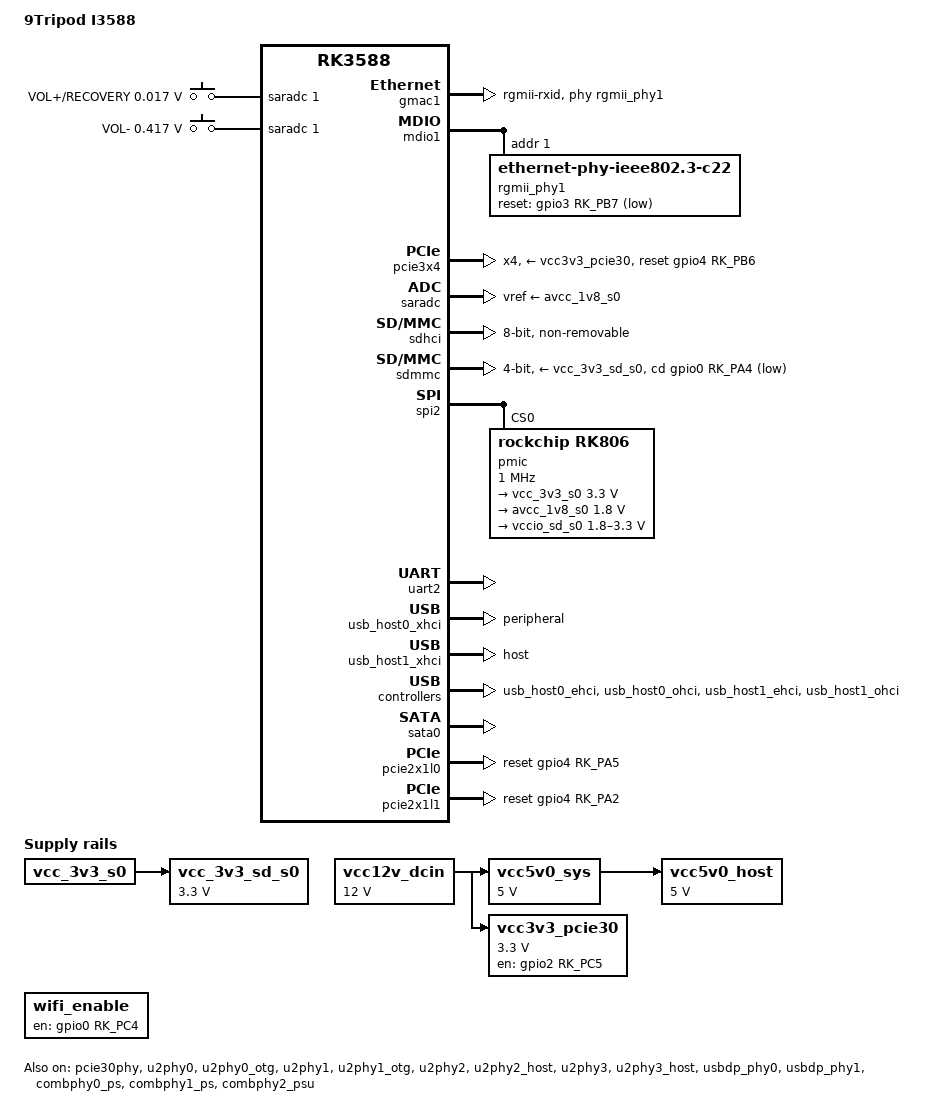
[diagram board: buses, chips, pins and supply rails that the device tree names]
// SPDX-License-Identifier: (GPL-2.0+ OR MIT)
/*
 * Board wiring from the I3588 factory Linux+QT DTB and BV2 carrier schematic.
 * Boot-stage devices only; the OS loads its own complete board DTB.
 */
/dts-v1/;

#include <dt-bindings/gpio/gpio.h>
#include <dt-bindings/input/input.h>
#include <dt-bindings/pinctrl/rockchip.h>
#include "rk3588.dtsi"

/ {
	model = "9Tripod I3588";
	compatible = "9tripod,i3588", "rockchip,rk3588";

	aliases {
		ethernet0 = &gmac1;
		mmc0 = &sdhci;
		mmc1 = &sdmmc;
	};

	chosen {
		stdout-path = "serial2:1500000n8";
	};

	/* Preserve the secure-world hole in the factory firmware's DRAM map. */
	reserved-memory {
		#address-cells = <2>;
		#size-cells = <2>;
		ranges;

		secure-firmware@8400000 {
			reg = <0 0x08400000 0 0x01000000>;
			no-map;
		};
	};

	adc-keys {
		compatible = "adc-keys";
		io-channels = <&saradc 1>;
		io-channel-names = "buttons";
		keyup-threshold-microvolt = <1800000>;
		poll-interval = <100>;

		download-key {
			label = "VOL+/RECOVERY";
			linux,code = <KEY_VOLUMEUP>;
			press-threshold-microvolt = <17000>;
		};

		volume-down {
			label = "VOL-";
			linux,code = <KEY_VOLUMEDOWN>;
			press-threshold-microvolt = <417000>;
		};
	};

	vcc12v_dcin: regulator-vcc12v-dcin {
		compatible = "regulator-fixed";
		regulator-name = "vcc12v_dcin";
		regulator-always-on;
		regulator-boot-on;
		regulator-min-microvolt = <12000000>;
		regulator-max-microvolt = <12000000>;
	};

	vcc5v0_sys: regulator-vcc5v0-sys {
		compatible = "regulator-fixed";
		regulator-name = "vcc5v0_sys";
		regulator-always-on;
		regulator-boot-on;
		regulator-min-microvolt = <5000000>;
		regulator-max-microvolt = <5000000>;
		vin-supply = <&vcc12v_dcin>;
	};

	vcc5v0_host: regulator-vcc5v0-host {
		compatible = "regulator-fixed";
		regulator-name = "vcc5v0_host";
		regulator-always-on;
		regulator-boot-on;
		regulator-min-microvolt = <5000000>;
		regulator-max-microvolt = <5000000>;
		vin-supply = <&vcc5v0_sys>;
	};

	vcc3v3_pcie30: regulator-vcc3v3-pcie30 {
		compatible = "regulator-fixed";
		regulator-name = "vcc3v3_pcie30";
		regulator-min-microvolt = <3300000>;
		regulator-max-microvolt = <3300000>;
		enable-active-high;
		gpio = <&gpio2 RK_PC5 GPIO_ACTIVE_HIGH>;
		startup-delay-us = <5000>;
		vin-supply = <&vcc12v_dcin>;
	};

	vcc_3v3_sd_s0: regulator-vcc-3v3-sd-s0 {
		compatible = "regulator-fixed";
		regulator-name = "vcc_3v3_sd_s0";
		regulator-min-microvolt = <3300000>;
		regulator-max-microvolt = <3300000>;
		vin-supply = <&vcc_3v3_s0>;
	};
	wifi_enable: regulator-wifi-enable {
		compatible = "regulator-fixed";
		regulator-name = "wifi_enable";
		gpio = <&gpio0 RK_PC4 GPIO_ACTIVE_HIGH>;
		enable-active-high;
		startup-delay-us = <200000>;
	};
};

&gmac1 {
	clock_in_out = "output";
	phy-handle = <&rgmii_phy1>;
	phy-mode = "rgmii-rxid";
	pinctrl-names = "default";
	pinctrl-0 = <&gmac1_miim &gmac1_tx_bus2 &gmac1_rx_bus2
		     &gmac1_rgmii_clk &gmac1_rgmii_bus>;
	tx_delay = <0x44>;
	status = "okay";
};

&mdio1 {
	rgmii_phy1: ethernet-phy@1 {
		compatible = "ethernet-phy-ieee802.3-c22";
		reg = <1>;
		reset-gpios = <&gpio3 RK_PB7 GPIO_ACTIVE_LOW>;
		reset-assert-us = <20000>;
		reset-deassert-us = <100000>;
	};
};

&pcie30phy {
	status = "okay";
};

&pcie3x4 {
	num-lanes = <4>;
	reset-gpios = <&gpio4 RK_PB6 GPIO_ACTIVE_HIGH>;
	vpcie3v3-supply = <&vcc3v3_pcie30>;
	status = "okay";
};


&saradc {
	vref-supply = <&avcc_1v8_s0>;
	status = "okay";
};

&sdhci {
	/delete-property/ supports-cqe;
	bus-width = <8>;
	mmc-hs400-1_8v;
	mmc-hs400-enhanced-strobe;
	non-removable;
	status = "okay";
};

&sdmmc {
	bus-width = <4>;
	cap-sd-highspeed;
	cd-gpios = <&gpio0 RK_PA4 GPIO_ACTIVE_LOW>;
	disable-wp;
	no-mmc;
	no-sdio;
	pinctrl-names = "default";
	pinctrl-0 = <&sdmmc_bus4 &sdmmc_clk &sdmmc_cmd>;
	sd-uhs-sdr104;
	vmmc-supply = <&vcc_3v3_sd_s0>;
	vqmmc-supply = <&vccio_sd_s0>;
	status = "okay";
};

/*
 * Preserve firmware-established CPU/DDR rails. Only regulators needed by
 * boot peripherals are described here.
 */
&spi2 {
	status = "okay";
	pinctrl-names = "default";
	pinctrl-0 = <&spi2m2_cs0 &spi2m2_pins>;

	pmic@0 {
		compatible = "rockchip,rk806";
		reg = <0>;
		spi-max-frequency = <1000000>;

		regulators {
			vcc_3v3_s0: pldo-reg4 {
				regulator-name = "vcc_3v3_s0";
				regulator-always-on;
				regulator-boot-on;
				regulator-min-microvolt = <3300000>;
				regulator-max-microvolt = <3300000>;
			};

			avcc_1v8_s0: pldo-reg1 {
				regulator-name = "avcc_1v8_s0";
				regulator-always-on;
				regulator-boot-on;
				regulator-min-microvolt = <1800000>;
				regulator-max-microvolt = <1800000>;
			};

			vccio_sd_s0: pldo-reg5 {
				regulator-name = "vccio_sd_s0";
				regulator-min-microvolt = <1800000>;
				regulator-max-microvolt = <3300000>;
			};
		};
	};
};

&uart2 {
	pinctrl-names = "default";
	pinctrl-0 = <&uart2m0_xfer>;
	status = "okay";
};

&u2phy0 { status = "okay"; };
&u2phy0_otg { status = "okay"; };
&u2phy1 { status = "okay"; };
&u2phy1_otg {
	phy-supply = <&vcc5v0_host>;
	status = "okay";
};
&u2phy2 { status = "okay"; };
&u2phy2_host {
	phy-supply = <&vcc5v0_host>;
	status = "okay";
};
&u2phy3 { status = "okay"; };
&u2phy3_host {
	phy-supply = <&vcc5v0_host>;
	status = "okay";
};

&usbdp_phy0 { status = "okay"; };
&usbdp_phy1 { status = "okay"; };
&usb_host0_xhci {
	dr_mode = "peripheral";
	status = "okay";
};
&usb_host1_xhci {
	dr_mode = "host";
	status = "okay";
};
&usb_host0_ehci { status = "okay"; };
&usb_host0_ohci { status = "okay"; };
&usb_host1_ehci { status = "okay"; };
&usb_host1_ohci { status = "okay"; };

/* combphy0 is wired to SATA; combphy1 to WLAN; combphy2 to RTL8111. */
&combphy0_ps {
    assigned-clocks = <&cru CLK_REF_PIPE_PHY0>;
    assigned-clock-rates = <100000000>;
    status = "okay";
};
&combphy1_ps { status = "okay"; };
&combphy2_psu { status = "okay"; };
&sata0 { status = "okay"; };
&pcie2x1l0 {
    reset-gpios = <&gpio4 RK_PA5 GPIO_ACTIVE_HIGH>;
    status = "okay";
};
&pcie2x1l1 {
    reset-gpios = <&gpio4 RK_PA2 GPIO_ACTIVE_HIGH>;
    status = "okay";
};
/* No separate x2 connector exists: the slot uses all four PCIe3 lanes. */
&pcie3x2 { status = "disabled"; };
